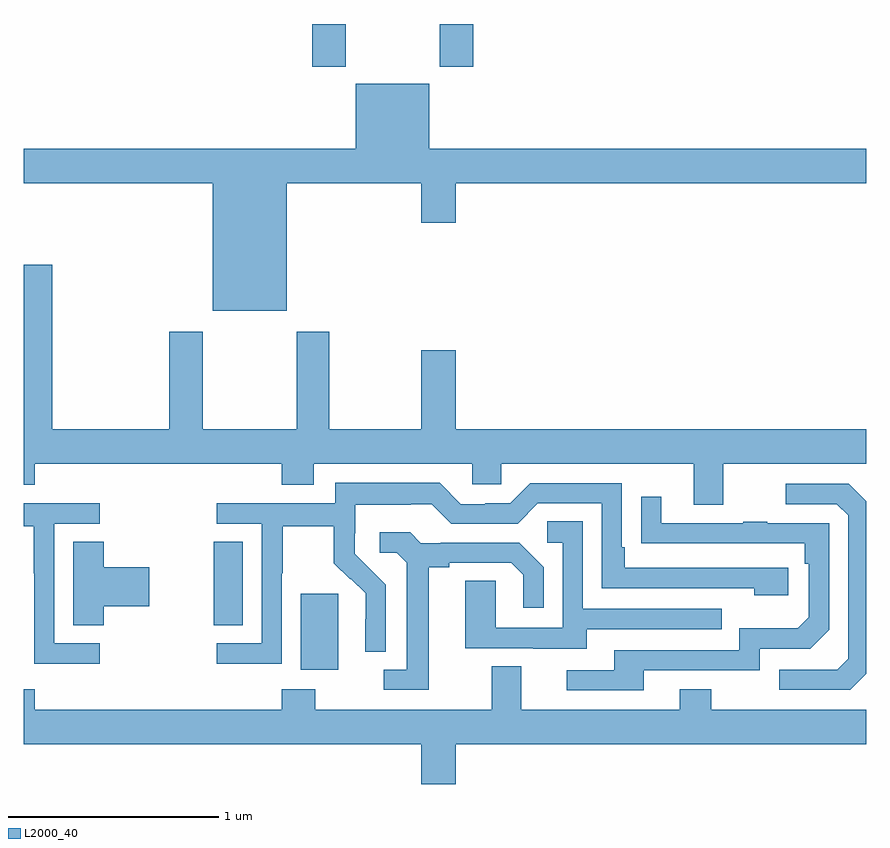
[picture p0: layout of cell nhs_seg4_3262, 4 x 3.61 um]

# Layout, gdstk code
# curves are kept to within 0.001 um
import gdstk
lib = gdstk.Library(unit=1e-6, precision=1e-09)
def R(c, l, rs):  # rectangles x0, y0, x1, y1
    for r in rs: c.add(gdstk.rectangle(r[:2], r[2:], *l))
def P(c, l, *ps):  # polygons
    for p in ps: c.add(gdstk.Polygon(p, *l))
L2000_40 = (2000, 40)

nhs_seg4_3262 = lib.new_cell('nhs_seg4_3262')
R(nhs_seg4_3262, L2000_40, [(284.315,803.834,284.494,804.195), (283.903,804.046,284.041,804.443), (284.369,806.697,284.529,806.9), (284.974,806.697,285.134,806.9)])
P(nhs_seg4_3262, L2000_40, [(284.248,806.144),(284.888,806.144),(284.888,805.956),(285.052,805.956),(285.052,806.144),(287,806.144),(287,806.308),(284.926,806.308),(284.926,806.617),(284.576,806.617),(284.576,806.308),(283,806.308),(283,806.144),(283.898,806.144),(283.898,805.538),(284.248,805.538)],
  [(286.321,804.812),(287,804.812),(287,804.976),(285.052,804.976),(285.052,805.351),(284.888,805.351),(284.888,804.976),(284.451,804.976),(284.451,805.438),(284.296,805.438),(284.296,804.976),(283.851,804.976),(283.851,805.438),(283.691,805.438),(283.691,804.976),(283.136,804.976),(283.136,805.756),(283,805.756),(283,804.713),(283.052,804.713),(283.052,804.812),(284.225,804.812),(284.225,804.713),(284.377,804.713),(284.377,804.812),(285.129,804.812),(285.129,804.714),(285.267,804.714),(285.267,804.812),(286.181,804.812),(286.181,804.618),(286.321,804.618)],
  [(284.226,804.292),(284.229,804.292),(284.229,804.516),(284.473,804.516),(284.473,804.341),(284.55,804.264),(284.553,804.267),(284.624,804.197),(284.624,804.074),(284.622,804.074),(284.622,803.92),(284.718,803.92),(284.718,804.238),(284.572,804.386),(284.572,804.483),(284.574,804.483),(284.574,804.617),(284.837,804.617),(284.837,804.621),(284.937,804.621),(285.03,804.528),(285.345,804.528),(285.441,804.624),(285.744,804.624),(285.744,804.222),(286.469,804.222),(286.469,804.188),(286.63,804.188),(286.63,804.318),(285.853,804.318),(285.853,804.415),(285.84,804.415),(285.84,804.72),(285.405,804.72),(285.309,804.624),(285.191,804.624),(285.191,804.621),(285.075,804.621),(284.975,804.721),(284.478,804.721),(284.478,804.624),(283.917,804.624),(283.917,804.528),(284.13,804.528),(284.13,803.961),(283.917,803.961),(283.917,803.863),(284.226,803.863)],
  [(287,803.816),(287,804.634),(286.917,804.717),(286.617,804.717),(286.617,804.621),(286.86,804.621),(286.914,804.567),(286.914,803.886),(286.863,803.835),(286.587,803.835),(286.587,803.739),(286.923,803.739)],
  [(285.943,803.832),(286.494,803.832),(286.494,803.934),(286.734,803.934),(286.824,804.024),(286.824,804.531),(286.529,804.531),(286.529,804.536),(286.417,804.536),(286.417,804.531),(286.027,804.531),(286.027,804.655),(285.931,804.655),(285.931,804.436),(286.708,804.435),(286.708,804.338),(286.728,804.338),(286.728,804.084),(286.675,804.031),(286.398,804.031),(286.398,803.928),(285.803,803.928),(285.803,803.832),(285.579,803.832),(285.579,803.736),(285.943,803.736)],
  [(283.36,803.961),(283.146,803.961),(283.146,804.528),(283.36,804.528),(283.36,804.624),(283,804.624),(283,804.516),(283.048,804.516),(283.048,804.292),(283.05,804.292),(283.05,803.863),(283.36,803.863)],
  [(285.673,804.027),(286.313,804.027),(286.313,804.123),(285.654,804.123),(285.654,804.539),(285.486,804.539),(285.486,804.438),(285.558,804.438),(285.558,804.033),(285.24,804.033),(285.24,804.257),(285.095,804.257),(285.095,803.937),(285.419,803.937),(285.419,803.933),(285.673,803.933)],
  [(284.923,804.32),(285.019,804.32),(285.019,804.342),(285.314,804.342),(285.371,804.285),(285.371,804.129),(285.468,804.129),(285.468,804.322),(285.352,804.438),(284.98,804.438),(284.98,804.435),(284.886,804.435),(284.834,804.487),(284.691,804.487),(284.691,804.39),(284.772,804.39),(284.819,804.343),(284.819,803.835),(284.709,803.835),(284.709,803.739),(284.923,803.739)],
  [(283.379,804.137),(283.597,804.137),(283.597,804.32),(283.379,804.32),(283.379,804.443),(283.235,804.443),(283.235,804.046),(283.379,804.046)],
  [(285.052,803.48),(287,803.48),(287,803.644),(286.263,803.644),(286.263,803.743),(286.115,803.743),(286.115,803.644),(285.361,803.644),(285.361,803.852),(285.221,803.852),(285.221,803.644),(284.385,803.644),(284.385,803.743),(284.225,803.743),(284.225,803.644),(283.052,803.644),(283.052,803.743),(283,803.743),(283,803.48),(284.888,803.48),(284.888,803.292),(285.052,803.292)])

lib.write_gds('nhs_seg4_3262.gds')
